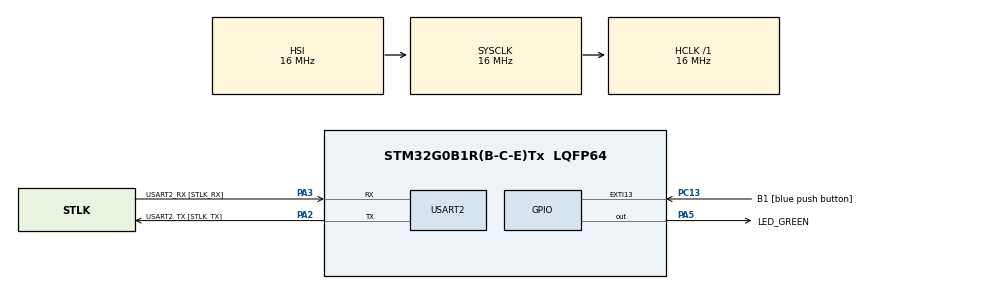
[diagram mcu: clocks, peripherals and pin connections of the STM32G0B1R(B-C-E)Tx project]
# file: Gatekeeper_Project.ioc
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FREERTOS.Queues01=PrintQueue,16,const char *,0,Dynamic,NULL,NULL
FREERTOS.Tasks01=defaultTask,24,128,StartDefaultTask,Default,NULL,Dynamic,NULL,NULL;SenderTask1,8,128,StartSenderTask1,Default,NULL,Dynamic,NULL,NULL;SenderTask2,8,128,StartSenderTask2,Default,NULL,Dynamic,NULL,NULL;GateKeeperTask,8,128,StartGateKeeperTask,Default,NULL,Dynamic,NULL,NULL
FREERTOS.configTOTAL_HEAP_SIZE=15360
FREERTOS.configUSE_NEWLIB_REENTRANT=1
Mcu.Family=STM32G0
Mcu.Name=STM32G0B1R(B-C-E)Tx
Mcu.Package=LQFP64
NVIC.TIM6_DAC_LPTIM1_IRQn=true\:3\:0\:false\:false\:true\:false\:false\:true\:true
NVIC.TimeBase=TIM6_DAC_LPTIM1_IRQn
NVIC.TimeBaseIP=TIM6
PA13.GPIO_Label=TMS
PA13.Mode=Serial_Wire
PA13.Signal=SYS_SWDIO
PA14-BOOT0.GPIO_Label=TCK
PA14-BOOT0.Mode=Serial_Wire
PA14-BOOT0.Signal=SYS_SWCLK
PA2.GPIO_Label=USART2_TX [STLK_TX]
PA2.Mode=Asynchronous
PA2.Signal=USART2_TX
PA3.GPIO_Label=USART2_RX [STLK_RX]
PA3.Mode=Asynchronous
PA3.Signal=USART2_RX
PA5.GPIO_Label=LED_GREEN
PA5.GPIO_Speed=GPIO_SPEED_FREQ_HIGH
PA5.Signal=GPIO_Output
PC13.GPIO_Label=B1 [blue push button]
PC13.Signal=GPXTI13
PC14-OSC32_IN\ (PC14).Mode=LSE-External-Oscillator
PC14-OSC32_IN\ (PC14).Signal=RCC_OSC32_IN
PC15-OSC32_OUT\ (PC15).Mode=LSE-External-Oscillator
PC15-OSC32_OUT\ (PC15).Signal=RCC_OSC32_OUT
PF0-OSC_IN\ (PF0).GPIO_Label=MCO
PF0-OSC_IN\ (PF0).Mode=HSE-External-Clock-Source
PF0-OSC_IN\ (PF0).Signal=RCC_OSC_IN
ProjectManager.HeapSize=0x200
ProjectManager.StackSize=0x400
ProjectManager.TargetToolchain=STM32CubeIDE
RCC.AHBFreq_Value=16000000
RCC.CortexFreq_Value=16000000
RCC.EXTERNAL_CLOCK_VALUE=12288000
RCC.HCLKFreq_Value=16000000
RCC.HSE_VALUE=8000000
RCC.HSI48_VALUE=48000000
RCC.HSI_VALUE=16000000
RCC.SYSCLKFreq_VALUE=16000000
RCC.USBFreq_Value=48000000
RCC.VCOOutputFreq_Value=128000000
USART2.VirtualMode-Asynchronous=VM_ASYNC
VP_FREERTOS_VS_CMSIS_V2.Mode=CMSIS_V2
VP_SYS_VS_DBSignals.Mode=DisableDeadBatterySignals
VP_SYS_VS_tim6.Mode=TIM6
board=NUCLEO-G0B1RE

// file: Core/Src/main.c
/* USER CODE BEGIN Header */
/**
  ******************************************************************************
  * @file           : main.c
  * @brief          : Main program body
  ******************************************************************************
  * @attention
  *
  * Copyright (c) 2026 STMicroelectronics.
  * All rights reserved.
  *
  * This software is licensed under terms that can be found in the LICENSE file
  * in the root directory of this software component.
  * If no LICENSE file comes with this software, it is provided AS-IS.
  *
  ******************************************************************************
  */
/* USER CODE END Header */
#include "main.h"
#include "cmsis_os.h"

/* USER CODE BEGIN Includes */
#include <stdio.h>
#include <string.h>
/* USER CODE END Includes */

UART_HandleTypeDef huart2;

/* Definitions for defaultTask */
osThreadId_t defaultTaskHandle;
const osThreadAttr_t defaultTask_attributes = {
  .name = "defaultTask",
  .priority = (osPriority_t) osPriorityNormal,
  .stack_size = 128 * 4
};
/* Definitions for SenderTask1 */
osThreadId_t SenderTask1Handle;
const osThreadAttr_t SenderTask1_attributes = {
  .name = "SenderTask1",
  .priority = (osPriority_t) osPriorityLow,
  .stack_size = 128 * 4
};
/* Definitions for SenderTask2 */
osThreadId_t SenderTask2Handle;
const osThreadAttr_t SenderTask2_attributes = {
  .name = "SenderTask2",
  .priority = (osPriority_t) osPriorityLow,
  .stack_size = 128 * 4
};
/* Definitions for GateKeeperTask */
osThreadId_t GateKeeperTaskHandle;
const osThreadAttr_t GateKeeperTask_attributes = {
  .name = "GateKeeperTask",
  .priority = (osPriority_t) osPriorityLow,
  .stack_size = 128 * 4
};
/* Definitions for PrintQueue */
osMessageQueueId_t PrintQueueHandle;
const osMessageQueueAttr_t PrintQueue_attributes = {
  .name = "PrintQueue"
};

void SystemClock_Config(void);
static void MX_GPIO_Init(void);
static void MX_USART2_UART_Init(void);
void StartDefaultTask(void *argument);
void StartSenderTask1(void *argument);
void StartSenderTask2(void *argument);
void StartGateKeeperTask(void *argument);

/* USER CODE BEGIN PFP */
static void uart_print(const char *s);
/* USER CODE END PFP */

/* USER CODE BEGIN 0 */
static void uart_print(const char *s)
{
	while (*s)
	{
		HAL_UART_Transmit(&huart2, (uint8_t*)s, 1, HAL_MAX_DELAY);
		s++;
		osDelay(1);
	}
}
/* USER CODE END 0 */

int main(void)
{

  /* MCU Configuration--------------------------------------------------------*/

  /* Reset of all peripherals, Initializes the Flash interface and the Systick. */
  HAL_Init();

  /* Configure the system clock */
  SystemClock_Config();

  /* Initialize all configured peripherals */
  MX_GPIO_Init();
  MX_USART2_UART_Init();

  /* Init scheduler */
  osKernelInitialize();

  /* Create the queue(s) */
  /* creation of PrintQueue */
  PrintQueueHandle = osMessageQueueNew (16, sizeof(const char *), &PrintQueue_attributes);

  /* Create the thread(s) */
  /* creation of defaultTask */
  defaultTaskHandle = osThreadNew(StartDefaultTask, NULL, &defaultTask_attributes);

  /* creation of SenderTask1 */
  SenderTask1Handle = osThreadNew(StartSenderTask1, NULL, &SenderTask1_attributes);

  /* creation of SenderTask2 */
  SenderTask2Handle = osThreadNew(StartSenderTask2, NULL, &SenderTask2_attributes);

  /* creation of GateKeeperTask */
  GateKeeperTaskHandle = osThreadNew(StartGateKeeperTask, NULL, &GateKeeperTask_attributes);

  /* Start scheduler */
  osKernelStart();

  /* We should never get here as control is now taken by the scheduler */

  /* Infinite loop */
  while (1)
  {

  }
}

void SystemClock_Config(void)
{
  RCC_OscInitTypeDef RCC_OscInitStruct = {0};
  RCC_ClkInitTypeDef RCC_ClkInitStruct = {0};

  /** Configure the main internal regulator output voltage
  */
  HAL_PWREx_ControlVoltageScaling(PWR_REGULATOR_VOLTAGE_SCALE1);

  /** Initializes the RCC Oscillators according to the specified parameters
  * in the RCC_OscInitTypeDef structure.
  */
  RCC_OscInitStruct.OscillatorType = RCC_OSCILLATORTYPE_HSI;
  RCC_OscInitStruct.HSIState = RCC_HSI_ON;
  RCC_OscInitStruct.HSIDiv = RCC_HSI_DIV1;
  RCC_OscInitStruct.HSICalibrationValue = RCC_HSICALIBRATION_DEFAULT;
  RCC_OscInitStruct.PLL.PLLState = RCC_PLL_NONE;
  if (HAL_RCC_OscConfig(&RCC_OscInitStruct) != HAL_OK)
  {
    Error_Handler();
  }

  /** Initializes the CPU, AHB and APB buses clocks
  */
  RCC_ClkInitStruct.ClockType = RCC_CLOCKTYPE_HCLK|RCC_CLOCKTYPE_SYSCLK
                              |RCC_CLOCKTYPE_PCLK1;
  RCC_ClkInitStruct.SYSCLKSource = RCC_SYSCLKSOURCE_HSI;
  RCC_ClkInitStruct.AHBCLKDivider = RCC_SYSCLK_DIV1;
  RCC_ClkInitStruct.APB1CLKDivider = RCC_HCLK_DIV1;

  if (HAL_RCC_ClockConfig(&RCC_ClkInitStruct, FLASH_LATENCY_0) != HAL_OK)
  {
    Error_Handler();
  }
}

static void MX_USART2_UART_Init(void)
{

  huart2.Instance = USART2;
  huart2.Init.BaudRate = 115200;
  huart2.Init.WordLength = UART_WORDLENGTH_8B;
  huart2.Init.StopBits = UART_STOPBITS_1;
  huart2.Init.Parity = UART_PARITY_NONE;
  huart2.Init.Mode = UART_MODE_TX_RX;
  huart2.Init.HwFlowCtl = UART_HWCONTROL_NONE;
  huart2.Init.OverSampling = UART_OVERSAMPLING_16;
  huart2.Init.OneBitSampling = UART_ONE_BIT_SAMPLE_DISABLE;
  huart2.Init.ClockPrescaler = UART_PRESCALER_DIV1;
  huart2.AdvancedInit.AdvFeatureInit = UART_ADVFEATURE_NO_INIT;
  if (HAL_UART_Init(&huart2) != HAL_OK)
  {
    Error_Handler();
  }
  if (HAL_UARTEx_SetTxFifoThreshold(&huart2, UART_TXFIFO_THRESHOLD_1_8) != HAL_OK)
  {
    Error_Handler();
  }
  if (HAL_UARTEx_SetRxFifoThreshold(&huart2, UART_RXFIFO_THRESHOLD_1_8) != HAL_OK)
  {
    Error_Handler();
  }
  if (HAL_UARTEx_DisableFifoMode(&huart2) != HAL_OK)
  {
    Error_Handler();
  }

}

static void MX_GPIO_Init(void)
{
  GPIO_InitTypeDef GPIO_InitStruct = {0};

  /* GPIO Ports Clock Enable */
  __HAL_RCC_GPIOC_CLK_ENABLE();
  __HAL_RCC_GPIOF_CLK_ENABLE();
  __HAL_RCC_GPIOA_CLK_ENABLE();

  /*Configure GPIO pin Output Level */
  HAL_GPIO_WritePin(LED_GREEN_GPIO_Port, LED_GREEN_Pin, GPIO_PIN_RESET);

  /*Configure GPIO pin : B1_Pin */
  GPIO_InitStruct.Pin = B1_Pin;
  GPIO_InitStruct.Mode = GPIO_MODE_IT_RISING;
  GPIO_InitStruct.Pull = GPIO_NOPULL;
  HAL_GPIO_Init(B1_GPIO_Port, &GPIO_InitStruct);

  /*Configure GPIO pin : LED_GREEN_Pin */
  GPIO_InitStruct.Pin = LED_GREEN_Pin;
  GPIO_InitStruct.Mode = GPIO_MODE_OUTPUT_PP;
  GPIO_InitStruct.Pull = GPIO_NOPULL;
  GPIO_InitStruct.Speed = GPIO_SPEED_FREQ_HIGH;
  HAL_GPIO_Init(LED_GREEN_GPIO_Port, &GPIO_InitStruct);

}

void StartDefaultTask(void *argument)
{
  for(;;)
  {
    osDelay(1);
  }
}

void StartSenderTask1(void *argument)
{
  /* USER CODE BEGIN StartSenderTask1 */
	const char *msg = "Task1 : AAAAAAAAAAAAAAAAAAA\r\n";
  /* Infinite loop */
  for(;;)
  {
//	  uart_print(msg);
	  osMessageQueuePut(PrintQueueHandle, &msg, 0, osWaitForever);
	  osDelay(500);
  }
  /* USER CODE END StartSenderTask1 */
}

void StartSenderTask2(void *argument)
{
  /* USER CODE BEGIN StartSenderTask2 */
	const char *msg = "Task2 : aaaaaaaaaaaaaaaaaa\r\n";

  /* Infinite loop */
  for(;;)
  {
//	  uart_print(msg);
	  osMessageQueuePut(PrintQueueHandle, &msg, 0, osWaitForever);

	  osDelay(500);
  }
  /* USER CODE END StartSenderTask2 */
}

void StartGateKeeperTask(void *argument)
{
  /* USER CODE BEGIN StartGateKeeperTask */
	const char *msg;
  /* Infinite loop */
	for(;;)
	{
		if (osMessageQueueGet(PrintQueueHandle, &msg, NULL, osWaitForever) == osOK)
		{
			uart_print(msg);
		}
	}
  /* USER CODE END StartGateKeeperTask */
}

void HAL_TIM_PeriodElapsedCallback(TIM_HandleTypeDef *htim)
{
  if (htim->Instance == TIM6) {
    HAL_IncTick();
  }
}

void Error_Handler(void)
{
  __disable_irq();
  while (1)
  {
  }
}
